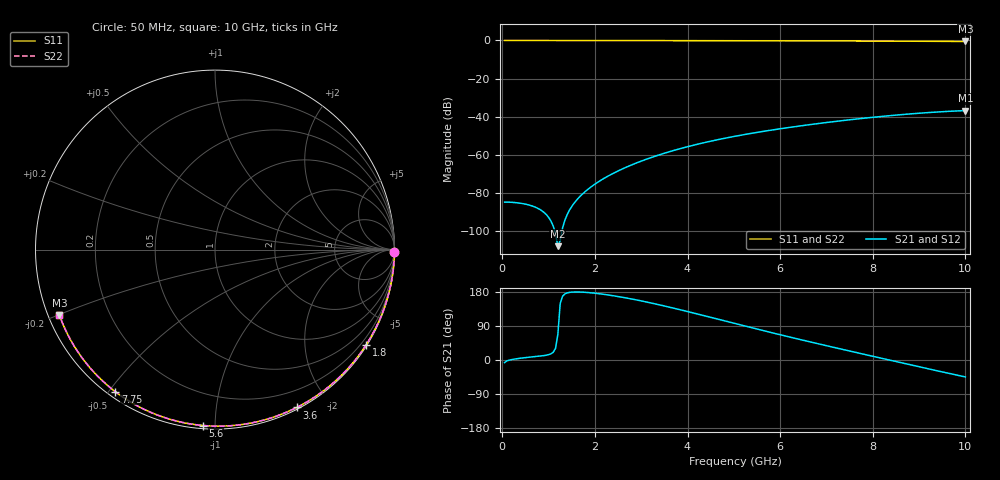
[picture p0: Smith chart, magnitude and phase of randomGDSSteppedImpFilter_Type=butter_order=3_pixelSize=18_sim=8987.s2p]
! freq	dB(S11)	phase(S11)	dB(S12)	phase(S12)
!  dB(S21)	phase(S21)	dB(S22)	phase(S22)
!S-par simulation data
#  GHz  S  DB  R 50
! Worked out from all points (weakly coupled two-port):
!   200 points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, 50 MHz to 10 GHz, reference 50 ohm
!   highest |S21| = -36.80 dB at 10 GHz (marker M1); lowest = -108.0 dB at 1.2 GHz (marker M2)
!   lowest |S11| = -0.5 dB at 10 GHz (marker M3), VSWR 32.69, Z = 1.59 - j10.1 ohm
!   |S11| at or under -10 dB: nowhere
!   |S22| runs from -0.5 to 0.0 dB; largest |S21 - S12| = 0
!   S11 on the Smith chart (normalised r, x): 50 MHz: open; 1.8 GHz: 0.03, -3.47; 3.6 GHz: 0.02, -1.64; 5.6 GHz: 0.02, -0.93; 7.75 GHz: 0.02, -0.52; 10 GHz: 0.03, -0.20
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0.05  -0.00 -0.9  -84.89 -6.9  -84.89 -6.9  -0.00 -0.9
0.6  -0.01 -10.9  -86.54 7.6  -86.54 7.6  -0.01 -10.9
1.2  -0.03 -21.6  -108.00 67.5  -108.00 67.5  -0.03 -21.6
1.75  -0.04 -31.3  -80.18 179.0  -80.18 179.0  -0.04 -31.3
1.8  -0.04 -32.2  -79.11 178.5  -79.11 178.5  -0.04 -32.2
1.95  -0.04 -34.8  -76.27 176.9  -76.27 176.9  -0.04 -34.8
2.1  -0.05 -37.4  -73.82 174.8  -73.82 174.8  -0.05 -37.4
2.25  -0.05 -40.0  -71.66 172.3  -71.66 172.3  -0.05 -40.0
2.45  -0.06 -43.4  -69.10 168.5  -69.10 168.5  -0.06 -43.4
2.9  -0.07 -51.0  -64.28 158.5  -64.28 158.5  -0.07 -51.1
3.4  -0.08 -59.4  -59.97 145.4  -59.97 145.4  -0.08 -59.4
3.6  -0.08 -62.7  -58.47 139.7  -58.47 139.7  -0.08 -62.7
4.3  -0.10 -73.9  -53.98 118.7  -53.98 118.7  -0.10 -73.9
5.05  -0.13 -85.6  -50.19 95.5  -50.19 95.5  -0.13 -85.6
5.6  -0.15 -93.9  -47.87 78.6  -47.87 78.6  -0.15 -93.9
6.15  -0.18 -102.1  -45.83 62.2  -45.83 62.2  -0.18 -102.1
6.7  -0.21 -110.1  -44.00 46.3  -44.00 46.3  -0.21 -110.1
7.2  -0.25 -117.3  -42.49 32.1  -42.49 32.1  -0.25 -117.3
7.75  -0.29 -125.1  -40.98 16.7  -40.98 16.7  -0.29 -125.1
8.35  -0.35 -133.6  -39.52 0.1  -39.52 0.1  -0.35 -133.6
9.2  -0.44 -145.6  -37.86 -23.3  -37.86 -23.3  -0.44 -145.6
10  -0.53 -157.1  -36.80 -44.7  -36.80 -44.7  -0.53 -157.1
